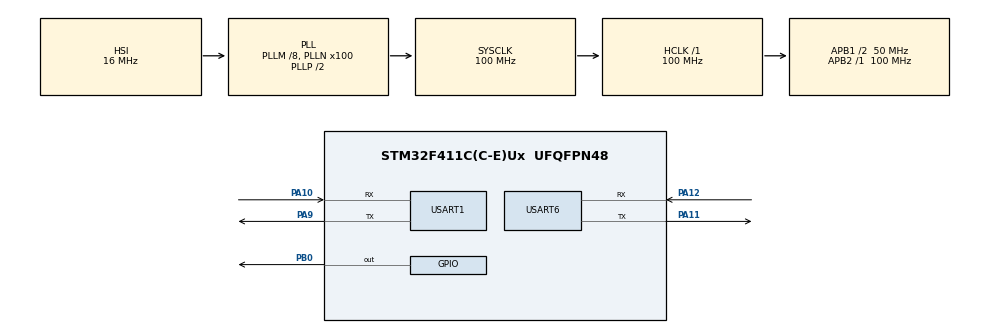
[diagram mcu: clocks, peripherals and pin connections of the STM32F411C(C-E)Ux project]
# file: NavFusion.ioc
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Mcu.Family=STM32F4
Mcu.Name=STM32F411C(C-E)Ux
Mcu.Package=UFQFPN48
NVIC.PriorityGroup=NVIC_PRIORITYGROUP_4
PA10.Mode=Asynchronous
PA10.Signal=USART1_RX
PA11.Mode=Asynchronous
PA11.Signal=USART6_TX
PA12.Mode=Asynchronous
PA12.Signal=USART6_RX
PA13.Mode=Serial_Wire
PA13.Signal=SYS_JTMS-SWDIO
PA14.Mode=Serial_Wire
PA14.Signal=SYS_JTCK-SWCLK
PA9.Mode=Asynchronous
PA9.Signal=USART1_TX
PB0.Signal=GPIO_Output
PB3.Signal=SYS_JTDO-SWO
PH0\ -\ OSC_IN.Mode=HSE-External-Clock-Source
PH0\ -\ OSC_IN.Signal=RCC_OSC_IN
PH1\ -\ OSC_OUT.Mode=HSE-External-Clock-Source
PH1\ -\ OSC_OUT.Signal=RCC_OSC_OUT
ProjectManager.HeapSize=0x200
ProjectManager.StackSize=0x400
ProjectManager.TargetToolchain=CMake
RCC.48MHZClocksFreq_Value=50000000
RCC.AHBFreq_Value=100000000
RCC.APB1CLKDivider=RCC_HCLK_DIV2
RCC.APB1Freq_Value=50000000
RCC.APB1TimFreq_Value=100000000
RCC.APB2Freq_Value=100000000
RCC.APB2TimFreq_Value=100000000
RCC.CortexFreq_Value=100000000
RCC.HCLKFreq_Value=100000000
RCC.HSE_VALUE=25000000
RCC.HSI_VALUE=16000000
RCC.LSE_VALUE=32768
RCC.PLLM=8
RCC.PLLN=100
RCC.SYSCLKFreq_VALUE=100000000
RCC.SYSCLKSource=RCC_SYSCLKSOURCE_PLLCLK
RCC.VCOOutputFreq_Value=200000000
USART1.VirtualMode=VM_ASYNC
USART6.VirtualMode=VM_ASYNC
board=custom

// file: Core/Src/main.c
/* USER CODE BEGIN Header */
/**
 ******************************************************************************
 * @file           : main.c
 * @brief          : Main program body
 * @note           : NavFusion 导航融合系统主程序
 *                   - MPU9250 九轴传感器姿态融合
 *                   - A7670E 4G/GNSS 定位（可选）
 ******************************************************************************
 * @attention
 *
 * Copyright (c) 2025 STMicroelectronics.
 * All rights reserved.
 *
 * This software is licensed under terms that can be found in the LICENSE file
 * in the root directory of this software component.
 * If no LICENSE file comes with this software, it is provided AS-IS.
 *
 ******************************************************************************
 */
/* USER CODE END Header */

/*==============================================================================
 *                           系统头文件包含
 *============================================================================*/
#include "main.h"
#include "stm32f4xx_hal.h"
#include "stm32f4xx_hal_uart.h"
#include "usart.h"
#include "gpio.h"

/* USER CODE BEGIN Includes */
#include "a7670e.h"    // A7670E 4G/GNSS 模块
#include "i2c.h"       // I2C 软件模拟
#include "mpu9250.h"   // MPU9250 九轴传感器
#include "payload.h"    // 有关载荷控制的函数
#include "led.h"
/* USER CODE END Includes */

/*==============================================================================
 *                           全局变量定义
 *============================================================================*/

/*==============================================================================
 *                           私有函数声明
 *============================================================================*/
void SystemClock_Config(void);

/*==============================================================================
 *                           主函数
 *============================================================================*/
/**
 * @brief  应用程序入口点
 * @retval int
 */
int main(void)
{

  /*============================================================================
   *                           MCU 配置
   *==========================================================================*/
  /* Reset of all peripherals, Initializes the Flash interface and the Systick. */
  HAL_Init();

  /* Configure the system clock */
  SystemClock_Config();

  /* Initialize all configured peripherals */
  MX_GPIO_Init();
  MX_USART1_UART_Init();
  MX_USART6_UART_Init();
  LED_IO_init();
  /* USER CODE BEGIN 2 */

  /*--- 4G+GNSS 模块初始化 ---*/
  AT_Getlocation_Init(); //初始化4G和GNSS模块

  MQTT_InitAndConnect_raw(); //初始化并连接MQTT服务器

  /*--- MPU9250 九轴传感器初始化 ---*/

  // 1. 初始化 MPU9250 九轴传感器
    int init_ret = MPU9250_9Axis_Init();
    if (init_ret == 0)
    {
        printf_uart6("MPU9250 初始化成功！\n\n");
    }
    else
    {
        printf_uart6("MPU9250 初始化失败！错误码：%d\n", init_ret);
        while(1);  // 停止运行
    }

    HAL_Delay(2000);

    // 2. 校准所有传感器
    MPU9250_CalibrateAll();

    // 3. 初始化 Mahony 滤波器（优化后的参数 + Anti-windup + 磁力计门控）
    MPU9250_MahonyInit(0.3f, 0.0f); // Kp=0.3, Ki=0（先关闭积分，测试纯 P 控制）
    printf_uart6("Mahony 滤波器初始化完成 (Kp=0.3, Ki=0.0)\n");
    printf_uart6("优化项：Anti-windup + 磁力计门控\n\n");

  /*--- 姿态角变量 ---*/
  float roll_deg, pitch_deg, yaw_deg;

  /*--- 数据结构体 ---*/
  MPU9250_raw_Data mpu_raw;           // MPU9250 原始数据
  MPU9250_Physical_Data mpu_phys;     // MPU9250 物理量数据
  AK8963_raw_Data ak_raw;             // AK8963 原始数据
  AK8963_Physical_Data ak_phys;       // AK8963 物理量数据

  /*--- 统计变量 ---*/
  uint32_t mag_fail_count = 0;        // 磁力计失败次数
  uint32_t print_count = 0;           // 打印频率控制
  uint32_t mag_success_count = 0;     // 磁力计成功次数

  /* USER CODE END 2 */

  /*============================================================================
   *                           主循环
   *==========================================================================*/
  while (1)
  {

    /*--- 读取九轴数据 ---*/
    int ret = MPU9250_Read_9Axis(&mpu_raw, &mpu_phys, &ak_raw, &ak_phys);

    float dt = 0.005f; // 5ms 采样间隔

    /*--- Mahony 姿态融合 ---*/
    if (ret == 0)
    {
        // 磁力计有效 → 9轴 Mahony
        MPU9250_MahonyUpdate(&mpu_phys, &ak_phys, dt);
        mag_fail_count = 0; // 重置失败计数
        mag_success_count++;
    }
    else
    {
        // 磁力计无效 → 用 6轴 Mahony
        MPU9250_MahonyUpdateIMU(&mpu_phys, dt);
        mag_fail_count++;

        // 磁力计连续失败 100 次后打印警告（0.5秒）
        if (mag_fail_count == 100) {
            printf_uart6("警告：磁力计持续失败，使用6轴融合！\n");
            mag_fail_count = 0; // 重置避免重复打印
        }
    }

    /*--- 输出融合后的欧拉角（每 200ms 打印一次，减少串口负载） ---*/
    if (++print_count >= 40)
    { // 40 * 5ms = 200ms
        MPU9250_GetEulerFusedDeg(&roll_deg, &pitch_deg, &yaw_deg);//从全局变量 g_euler_fused（弧度）转换为度数（°）

        // 【诊断模式】打印姿态角（静置时观察是否稳定）
        // printf_uart6("姿态角：R:%.1f° P:%.1f° Y:%.1f° [Mag:%s]\n",
        //              roll_deg, pitch_deg, yaw_deg,
        //              (ret == 0) ? "OK" : "FAIL");
        print_count = 0;

        // 每 10 秒重置统计
        if (mag_success_count + mag_fail_count >= 2000)
        {
            mag_success_count = 0;
            mag_fail_count = 0;
        }
    }

    /*--- GNSS 定位 ---*/
    AT_GNSS_GetLocation();//获取经纬度信息

    //组JSON
    char *payload = BuildPayload_WGS84_Attitude(MQTT_DEVICE_ID, "business_id", HAL_GetTick(), "gateway_id",
                                                  gnss_data.latitude, gnss_data.longitude, gnss_data.altitude, gnss_data.speed_knots,
                                                  roll_deg, pitch_deg, yaw_deg,
                                                  0, 0);
    if (payload != NULL)
    {
      // 先打印看看格式对不对
      printf_uart6("%s\r\n", payload);

      // ---- 下一步：MQTT 发布（后面接 CMQTTPUB）----
      MQTT_Publish_raw(MQTT_TOPIC_OSD, payload);

      // 用完一定 free
      free(payload);
    }

  }
}

/*==============================================================================
 *                           系统时钟配置
 *============================================================================*/
/**
 * @brief  系统时钟配置
 * @retval None
 * @note   时钟配置：
 *         - 系统时钟源：PLL (HSI)
 *         - SYSCLK：100 MHz
 *         - HCLK：100 MHz
 *         - APB1：50 MHz
 *         - APB2：100 MHz
 */
void SystemClock_Config(void)
{
  RCC_OscInitTypeDef RCC_OscInitStruct = {0};
  RCC_ClkInitTypeDef RCC_ClkInitStruct = {0};

  /** Configure the main internal regulator output voltage */
  __HAL_RCC_PWR_CLK_ENABLE();
  __HAL_PWR_VOLTAGESCALING_CONFIG(PWR_REGULATOR_VOLTAGE_SCALE1);

  /** Initializes the RCC Oscillators according to the specified parameters
  * in the RCC_OscInitTypeDef structure.
  */
  RCC_OscInitStruct.OscillatorType = RCC_OSCILLATORTYPE_HSI;
  RCC_OscInitStruct.HSIState = RCC_HSI_ON;
  RCC_OscInitStruct.HSICalibrationValue = RCC_HSICALIBRATION_DEFAULT;
  RCC_OscInitStruct.PLL.PLLState = RCC_PLL_ON;
  RCC_OscInitStruct.PLL.PLLSource = RCC_PLLSOURCE_HSI;
  RCC_OscInitStruct.PLL.PLLM = 8;
  RCC_OscInitStruct.PLL.PLLN = 100;
  RCC_OscInitStruct.PLL.PLLP = RCC_PLLP_DIV2;
  RCC_OscInitStruct.PLL.PLLQ = 4;
  if (HAL_RCC_OscConfig(&RCC_OscInitStruct) != HAL_OK)
  {
    Error_Handler();
  }

  /** Initializes the CPU, AHB and APB buses clocks */
  RCC_ClkInitStruct.ClockType = RCC_CLOCKTYPE_HCLK|RCC_CLOCKTYPE_SYSCLK
                              |RCC_CLOCKTYPE_PCLK1|RCC_CLOCKTYPE_PCLK2;
  RCC_ClkInitStruct.SYSCLKSource = RCC_SYSCLKSOURCE_PLLCLK;
  RCC_ClkInitStruct.AHBCLKDivider = RCC_SYSCLK_DIV1;
  RCC_ClkInitStruct.APB1CLKDivider = RCC_HCLK_DIV2;
  RCC_ClkInitStruct.APB2CLKDivider = RCC_HCLK_DIV1;

  if (HAL_RCC_ClockConfig(&RCC_ClkInitStruct, FLASH_LATENCY_3) != HAL_OK)
  {
    Error_Handler();
  }
}

/*==============================================================================
 *                           用户代码区
 *============================================================================*/

/*==============================================================================
 *                           错误处理函数
 *============================================================================*/
/**
 * @brief  错误处理函数
 * @retval None
 * @note   发生错误时禁用中断并进入死循环
 */
void Error_Handler(void)
{
  __disable_irq();
  while (1)
  {
  }
}
